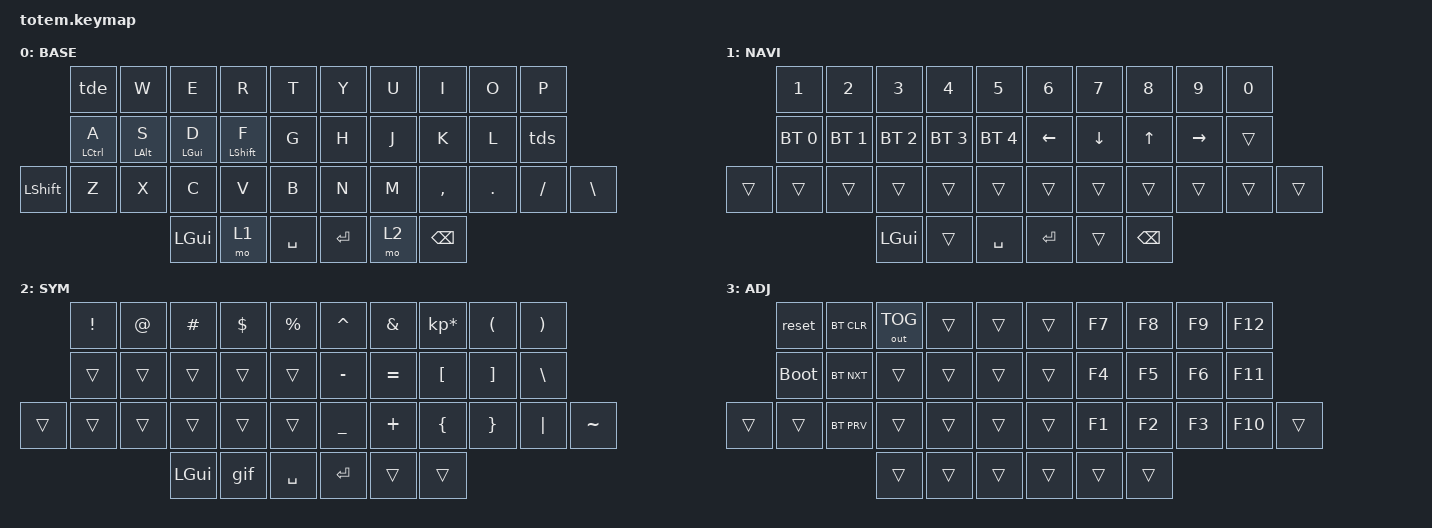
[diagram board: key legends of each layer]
//
//                                                        ▀▀▀▀▀     ▀▀▀▀▀          ▀▀█▀▀
//                                                        ▄▀▀▀▄  ▄  ▄▀▀▀▄  ▄  ▄▀▀▀▄  █  ▄▀▀▀▄
//                                                        █   █  █  █   █  █  █   █  █  █   █
//                                                         ▀▀▀   █   ▀▀▀   █   ▀▀▀   ▀   ▀▀▀
//                                                               █      ▄▄▄█▄▄▄    █   █  
//                                                               ▀      █  █  █     █▄█
//                                                             ▀▀▀▀▀    █  █  █      ▀
//                                                                      ▀  ▀  ▀
//
// ▄▄▄▄▄▄▄▄▄▄▄▄▄▄▄▄▄▄▄▄▄▄▄▄▄▄▄▄▄▄▄▄▄▄▄▄▄▄▄▄▄▄▄▄▄▄▄▄▄▄▄▄▄▄▄▄▄▄▄▄▄▄▄▄▄▄▄▄▄▄▄▄▄▄▄▄▄▄▄▄▄▄▄▄▄▄▄▄▄▄▄▄▄▄▄▄▄▄▄▄▄▄▄▄▄▄▄▄▄▄▄▄▄▄▄▄▄▄▄▄▄▄▄▄▄▄▄▄▄▄▄▄▄▄▄▄▄▄▄▄▄▄▄▄▄▄▄▄▄
       

#include <behaviors.dtsi>
#include <dt-bindings/zmk/keys.h>
#include <dt-bindings/zmk/bt.h>
#include <dt-bindings/zmk/outputs.h>

#define BASE 0
#define NAV  1
#define SYM  2
#define ADJ  3

&mt {
    tapping-term-ms = <150>;
    quick_tap_ms = <0>;
    flavor = "hold-preferred";
};

&lt {
    tapping-term-ms = <150>;
    quick_tap_ms = <0>;
    flavor = "tap-preferred";
};

&sk {
    release-after-ms = <500>;
    quick-release;
};

/ {
    combos {
            compatible = "zmk,combos";
            combo_tab {
                timeout-ms = <50>;
                key-positions = <0 1>;
                bindings = <&kp TAB>;
            };
    };

    macros {
        gif: gif {
            label = "giphy";
            compatible = "zmk,behavior-macro";
            #binding-cells = <0>;
            bindings
                = <&macro_press &kp LSHFT>
                , <&macro_tap &kp N2>
                , <&macro_release &kp LSHFT>
                , <&macro_tap &kp G &kp I &kp F>
                ;
        };
    };

    behaviors {
        am: alpha_mods {
            compatible = "zmk,behavior-hold-tap";
            label = "ALPHA_MT";
            #binding-cells = <2>;
            tapping-term-ms = <250>;
            quick-tap-ms = <150>;
            flavor = "tap-preferred";
            bindings = <&kp>, <&kp>;
        };

        as: alpha_shift {
            compatible = "zmk,behavior-hold-tap";
            label = "ALPHA_SFT";
            #binding-cells = <2>;
            tapping-term-ms = <200>;
            quick-tap-ms = <150>;
            flavor = "tap-preferred";
            bindings = <&kp>, <&kp>;
        };

        tde: tap_dance_esc {
            compatible = "zmk,behavior-tap-dance";
            label = "TAP_DANCE_ESC";
            #binding-cells = <0>;
            tapping-term-ms = <100>;
            bindings = <&kp Q>, <&kp ESC>;
        };

        tds: tap_dance_semi {
            compatible = "zmk,behavior-tap-dance";
            label = "TAP_DANCE_SEMI";
            #binding-cells = <0>;
            tapping-term-ms = <200>;
            bindings = <&kp SINGLE_QUOTE>, <&kp SEMI>;
        };
    };

        keymap {
                compatible = "zmk,keymap";
// ▄▄▄▄▄▄▄▄▄▄▄▄▄▄▄▄▄▄▄▄▄▄▄▄▄▄▄▄▄▄▄▄▄▄▄▄▄▄▄▄▄▄▄▄▄▄▄▄▄▄▄▄▄▄▄▄▄▄▄▄▄▄▄▄▄▄▄▄▄▄▄▄▄▄▄▄▄▄▄▄▄▄▄▄▄▄▄▄▄▄▄▄▄▄▄▄▄▄▄▄▄▄▄▄▄▄▄▄▄▄▄▄▄▄▄▄▄▄▄▄▄▄▄▄▄▄▄▄▄▄▄▄▄▄▄▄▄▄▄▄▄▄▄▄▄▄▄▄▄

                base_layer {
// ┏━━━━━━━━━━━━━━━━━━━━━━━━━━━━━━━━━━━━━━━┓
label= "BASE"                              ;
// ┗━━━━━━━━━━━━━━━━━━━━━━━━━━━━━━━━━━━━━━━┛
//             ┏━━━━━━━━━━━┳━━━━━━━━━━━┳━━━━━━━━━━━┳━━━━━━━━━━━┳━━━━━━━━━━━┓   ┏━━━━━━━━━━━┳━━━━━━━━━━━┳━━━━━━━━━━━┳━━━━━━━━━━━┳━━━━━━━━━━━┓
//             ┃     Q     ┃     W     ┃     E     ┃     R     ┃     T     ┃   ┃     Y     ┃     U     ┃     I     ┃     O     ┃     P     ┃
//             ┣━━━━━━━━━━━╋━━━━━━━━━━━╋━━━━━━━━━━━╋━━━━━━━━━━━╋━━━━━━━━━━━┫   ┣━━━━━━━━━━━╋━━━━━━━━━━━╋━━━━━━━━━━━╋━━━━━━━━━━━╋━━━━━━━━━━━┫
//             ┃     A     ┃     S     ┃     D     ┃     F     ┃     G     ┃   ┃     H     ┃     J     ┃     K     ┃     L     ┃     ;     ┃
// ┏━━━━━━━━━━━╋━━━━━━━━━━━╋━━━━━━━━━━━╋━━━━━━━━━━━╋━━━━━━━━━━━╋━━━━━━━━━━━┫   ┣━━━━━━━━━━━╋━━━━━━━━━━━╋━━━━━━━━━━━╋━━━━━━━━━━━╋━━━━━━━━━━━╋━━━━━━━━━━━┓
// ┃    ESC    ┃     Z     ┃     X     ┃     C     ┃     V     ┃     B     ┃   ┃     N     ┃     M     ┃     ,     ┃     .     ┃     /     ┃     \     ┃
// ┗━━━━━━━━━━━┻━━━━━━━━━━━┻━━━━━━━━━━━╋━━━━━━━━━━━╋━━━━━━━━━━━╋━━━━━━━━━━━┫   ┣━━━━━━━━━━━╋━━━━━━━━━━━╋━━━━━━━━━━━╋━━━━━━━━━━━┻━━━━━━━━━━━┻━━━━━━━━━━━┛
//                                     ┃    GUI    ┃    LWR    ┃    SPC    ┃   ┃   ENTER   ┃    RSE    ┃   BSPC    ┃
//                                     ┗━━━━━━━━━━━┻━━━━━━━━━━━┻━━━━━━━━━━━┛   ┗━━━━━━━━━━━┻━━━━━━━━━━━┻━━━━━━━━━━━┛
 bindings = <
// ╷           ╷           ╷           ╷           ╷           ╷           ╷   ╷           ╷           ╷           ╷           ╷           ╷           ╷

                &tde        &kp W       &kp E       &kp R        &kp T          &kp Y       &kp U       &kp I       &kp O       &kp P
                &am LCTRL A &am LALT S  &am LGUI D  &as LSHIFT F &kp G          &kp H       &kp J       &kp K       &kp L       &tds
    &kp LSHIFT  &kp Z       &kp X       &kp C       &kp V        &kp B          &kp N       &kp M       &kp COMMA   &kp DOT     &kp FSLH    &kp BSLH
                                        &kp LGUI    &mo 1        &kp SPACE      &kp ENTER   &mo 2       &kp BACKSPACE
                        >;
                };

// ▄▄▄▄▄▄▄▄▄▄▄▄▄▄▄▄▄▄▄▄▄▄▄▄▄▄▄▄▄▄▄▄▄▄▄▄▄▄▄▄▄▄▄▄▄▄▄▄▄▄▄▄▄▄▄▄▄▄▄▄▄▄▄▄▄▄▄▄▄▄▄▄▄▄▄▄▄▄▄▄▄▄▄▄▄▄▄▄▄▄▄▄▄▄▄▄▄▄▄▄▄▄▄▄▄▄▄▄▄▄▄▄▄▄▄▄▄▄▄▄▄▄▄▄▄▄▄▄▄▄▄▄▄▄▄▄▄▄▄▄▄▄▄▄▄▄▄▄▄


                nav_layer {
// ┏━━━━━━━━━━━━━━━━━━━━━━━━━━━━━━━━━━━━━━━┓
label= "NAVI"                              ;
// ┗━━━━━━━━━━━━━━━━━━━━━━━━━━━━━━━━━━━━━━━┛
//             ┏━━━━━━━━━━━┳━━━━━━━━━━━┳━━━━━━━━━━━┳━━━━━━━━━━━┳━━━━━━━━━━━┓   ┏━━━━━━━━━━━┳━━━━━━━━━━━┳━━━━━━━━━━━┳━━━━━━━━━━━┳━━━━━━━━━━━┓
//             ┃     1     ┃     2     ┃     3     ┃     4     ┃     5     ┃   ┃     6     ┃     7     ┃     8     ┃     9     ┃     0     ┃
//             ┣━━━━━━━━━━━╋━━━━━━━━━━━╋━━━━━━━━━━━╋━━━━━━━━━━━╋━━━━━━━━━━━┫   ┣━━━━━━━━━━━╋━━━━━━━━━━━╋━━━━━━━━━━━╋━━━━━━━━━━━╋━━━━━━━━━━━┫
//             ┃    BT1    ┃    BT2    ┃    BT3    ┃    BT4    ┃    BT5    ┃   ┃    LEFT   ┃    DOWN   ┃     UP    ┃   RIGHT   ┃           ┃
// ┏━━━━━━━━━━━╋━━━━━━━━━━━╋━━━━━━━━━━━╋━━━━━━━━━━━╋━━━━━━━━━━━╋━━━━━━━━━━━┫   ┣━━━━━━━━━━━╋━━━━━━━━━━━╋━━━━━━━━━━━╋━━━━━━━━━━━╋━━━━━━━━━━━╋━━━━━━━━━━━┓
// ┃           ┃           ┃           ┃           ┃           ┃           ┃   ┃           ┃           ┃           ┃           ┃           ┃           ┃
// ┗━━━━━━━━━━━┻━━━━━━━━━━━┻━━━━━━━━━━━╋━━━━━━━━━━━╋━━━━━━━━━━━╋━━━━━━━━━━━┫   ┣━━━━━━━━━━━╋━━━━━━━━━━━╋━━━━━━━━━━━╋━━━━━━━━━━━┻━━━━━━━━━━━┻━━━━━━━━━━━┛
//                                     ┃   LGUI    ┃           ┃    SPC    ┃   ┃   ENTER   ┃           ┃    BKSP   ┃
//                                     ┗━━━━━━━━━━━┻━━━━━━━━━━━┻━━━━━━━━━━━┛   ┗━━━━━━━━━━━┻━━━━━━━━━━━┻━━━━━━━━━━━┛
 bindings = <
// ╷           ╷           ╷           ╷           ╷           ╷           ╷   ╷           ╷           ╷           ╷           ╷           ╷           ╷

                &kp N1      &kp N2      &kp N3      &kp N4      &kp N5          &kp N6      &kp N7      &kp N8      &kp N9      &kp N0
                &bt BT_SEL 0 &bt BT_SEL 1  &bt BT_SEL 2  &bt BT_SEL 3  &bt BT_SEL 4 &kp LEFT    &kp DOWN    &kp UP  &kp RIGHT   &trans
    &trans      &trans      &trans      &trans      &trans      &trans          &trans      &trans      &trans      &trans      &trans       &trans      
                                        &kp LGUI    &trans      &kp SPACE       &kp RET     &trans      &kp BACKSPACE      
                        >;
                };

// ▄▄▄▄▄▄▄▄▄▄▄▄▄▄▄▄▄▄▄▄▄▄▄▄▄▄▄▄▄▄▄▄▄▄▄▄▄▄▄▄▄▄▄▄▄▄▄▄▄▄▄▄▄▄▄▄▄▄▄▄▄▄▄▄▄▄▄▄▄▄▄▄▄▄▄▄▄▄▄▄▄▄▄▄▄▄▄▄▄▄▄▄▄▄▄▄▄▄▄▄▄▄▄▄▄▄▄▄▄▄▄▄▄▄▄▄▄▄▄▄▄▄▄▄▄▄▄▄▄▄▄▄▄▄▄▄▄▄▄▄▄▄▄▄▄▄▄▄▄


                sim_layer {
// ┏━━━━━━━━━━━━━━━━━━━━━━━━━━━━━━━━━━━━━━━┓
label= "SYM"                               ;
// ┗━━━━━━━━━━━━━━━━━━━━━━━━━━━━━━━━━━━━━━━┛
//             ┏━━━━━━━━━━━┳━━━━━━━━━━━┳━━━━━━━━━━━┳━━━━━━━━━━━┳━━━━━━━━━━━┓   ┏━━━━━━━━━━━┳━━━━━━━━━━━┳━━━━━━━━━━━┳━━━━━━━━━━━┳━━━━━━━━━━━┓
//             ┃     !     ┃     @     ┃     #     ┃     $     ┃     %     ┃   ┃     ˆ     ┃     &     ┃     *     ┃     (     ┃     )     ┃
//             ┣━━━━━━━━━━━╋━━━━━━━━━━━╋━━━━━━━━━━━╋━━━━━━━━━━━╋━━━━━━━━━━━┫   ┣━━━━━━━━━━━╋━━━━━━━━━━━╋━━━━━━━━━━━╋━━━━━━━━━━━╋━━━━━━━━━━━┫
//             ┃           ┃           ┃           ┃           ┃           ┃   ┃     -     ┃     =     ┃     [     ┃     ]     ┃     \     ┃
// ┏━━━━━━━━━━━╋━━━━━━━━━━━╋━━━━━━━━━━━╋━━━━━━━━━━━╋━━━━━━━━━━━╋━━━━━━━━━━━┫   ┣━━━━━━━━━━━╋━━━━━━━━━━━╋━━━━━━━━━━━╋━━━━━━━━━━━╋━━━━━━━━━━━╋━━━━━━━━━━━┓
// ┃           ┃           ┃           ┃           ┃           ┃           ┃   ┃     _     ┃     +     ┃     {     ┃     }     ┃     |     ┃     `     ┃
// ┗━━━━━━━━━━━┻━━━━━━━━━━━┻━━━━━━━━━━━╋━━━━━━━━━━━╋━━━━━━━━━━━╋━━━━━━━━━━━┫   ┣━━━━━━━━━━━╋━━━━━━━━━━━╋━━━━━━━━━━━╋━━━━━━━━━━━┻━━━━━━━━━━━┻━━━━━━━━━━━┛
//                                     ┃   LGUI    ┃    GIF    ┃   SPACE   ┃   ┃   ENTER   ┃           ┃           ┃
//                                     ┗━━━━━━━━━━━┻━━━━━━━━━━━┻━━━━━━━━━━━┛   ┗━━━━━━━━━━━┻━━━━━━━━━━━┻━━━━━━━━━━━┛
 bindings = <
// ╷           ╷           ╷           ╷           ╷           ╷           ╷   ╷           ╷           ╷           ╷           ╷           ╷           ╷

                &kp EXCL    &kp AT      &kp HASH    &kp DLLR    &kp PRCNT       &kp CARET   &kp AMPS     &kp KP_MULTIPLY  &kp LPAR  &kp RPAR       
                &trans      &trans      &trans      &trans      &trans          &kp MINUS   &kp EQUAL    &kp LBKT         &kp RBKT  &kp BSLH
    &trans      &trans      &trans      &trans      &trans      &trans          &kp UNDER   &kp PLUS     &kp LBRC         &kp RBRC  &kp PIPE   &kp TILDE         
                                        &kp LGUI    &gif        &kp SPACE       &kp ENTER   &trans       &trans      
                        >;
                };

// ▄▄▄▄▄▄▄▄▄▄▄▄▄▄▄▄▄▄▄▄▄▄▄▄▄▄▄▄▄▄▄▄▄▄▄▄▄▄▄▄▄▄▄▄▄▄▄▄▄▄▄▄▄▄▄▄▄▄▄▄▄▄▄▄▄▄▄▄▄▄▄▄▄▄▄▄▄▄▄▄▄▄▄▄▄▄▄▄▄▄▄▄▄▄▄▄▄▄▄▄▄▄▄▄▄▄▄▄▄▄▄▄▄▄▄▄▄▄▄▄▄▄▄▄▄▄▄▄▄▄▄▄▄▄▄▄▄▄▄▄▄▄▄▄▄▄▄▄▄


                adjust_layer {
// ┏━━━━━━━━━━━━━━━━━━━━━━━━━━━━━━━━━━━━━━━┓
label= "ADJ"                               ;
// ┗━━━━━━━━━━━━━━━━━━━━━━━━━━━━━━━━━━━━━━━┛
//             ┏━━━━━━━━━━━┳━━━━━━━━━━━┳━━━━━━━━━━━┳━━━━━━━━━━━┳━━━━━━━━━━━┓   ┏━━━━━━━━━━━┳━━━━━━━━━━━┳━━━━━━━━━━━┳━━━━━━━━━━━┳━━━━━━━━━━━┓
//             ┃   RESET   ┃ BT CLEAR  ┃  OUT TOG  ┃           ┃           ┃   ┃           ┃    F7     ┃    F8     ┃    F9     ┃    F12    ┃
//             ┣━━━━━━━━━━━╋━━━━━━━━━━━╋━━━━━━━━━━━╋━━━━━━━━━━━╋━━━━━━━━━━━┫   ┣━━━━━━━━━━━╋━━━━━━━━━━━╋━━━━━━━━━━━╋━━━━━━━━━━━╋━━━━━━━━━━━┫
//             ┃ BOOTLOAD  ┃ BT NEXT   ┃           ┃           ┃           ┃   ┃           ┃    F4     ┃    F5     ┃    F6     ┃    F11    ┃
// ┏━━━━━━━━━━━╋━━━━━━━━━━━╋━━━━━━━━━━━╋━━━━━━━━━━━╋━━━━━━━━━━━╋━━━━━━━━━━━┫   ┣━━━━━━━━━━━╋━━━━━━━━━━━╋━━━━━━━━━━━╋━━━━━━━━━━━╋━━━━━━━━━━━╋━━━━━━━━━━━┓
// ┃           ┃           ┃ BT PREV   ┃           ┃           ┃           ┃   ┃           ┃    F1     ┃    F2     ┃    F3     ┃    F10    ┃           ┃
// ┗━━━━━━━━━━━┻━━━━━━━━━━━┻━━━━━━━━━━━╋━━━━━━━━━━━╋━━━━━━━━━━━╋━━━━━━━━━━━┫   ┣━━━━━━━━━━━╋━━━━━━━━━━━╋━━━━━━━━━━━╋━━━━━━━━━━━┻━━━━━━━━━━━┻━━━━━━━━━━━┛
//                                     ┃           ┃           ┃           ┃   ┃           ┃           ┃           ┃
//                                     ┗━━━━━━━━━━━┻━━━━━━━━━━━┻━━━━━━━━━━━┛   ┗━━━━━━━━━━━┻━━━━━━━━━━━┻━━━━━━━━━━━┛
 bindings = <
// ╷           ╷           ╷           ╷           ╷           ╷           ╷   ╷           ╷           ╷           ╷           ╷           ╷           ╷

                &reset      &bt BT_CLR &out OUT_TOG &trans      &trans          &trans      &kp F7      &kp F8      &kp F9      &kp F12
                &bootloader &bt BT_NXT  &trans      &trans      &trans          &trans      &kp F4      &kp F5      &kp F6      &kp F11  
    &trans      &trans      &bt BT_PRV  &trans      &trans      &trans          &trans      &kp F1      &kp F2      &kp F3      &kp F10     &trans         
                                        &trans      &trans      &trans          &trans      &trans      &trans      
                        >;
                };
        };
};
